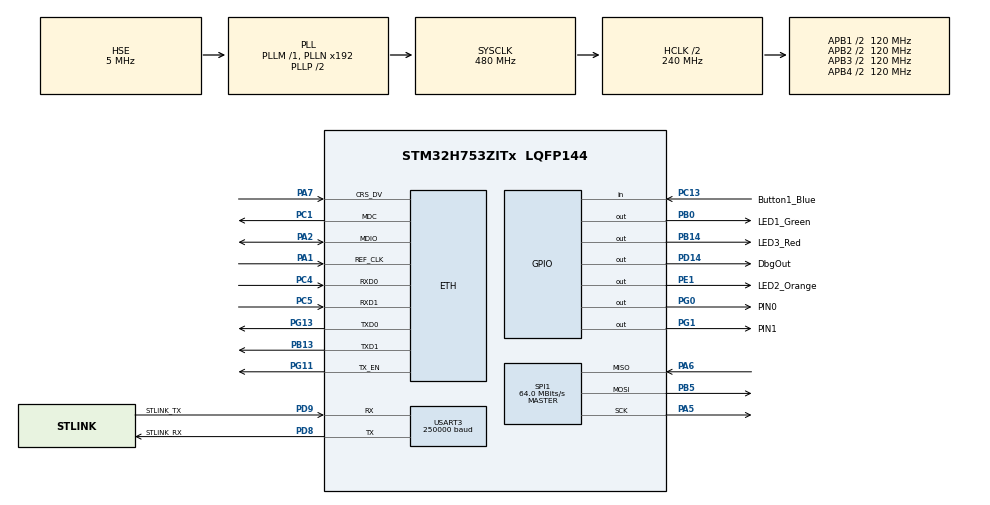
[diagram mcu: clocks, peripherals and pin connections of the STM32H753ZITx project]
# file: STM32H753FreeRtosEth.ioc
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CORTEX_M7.AccessPermission_S-Cortex_Memory_Protection_Unit_Region1_Settings_S=MPU_REGION_FULL_ACCESS
CORTEX_M7.AccessPermission_S-Cortex_Memory_Protection_Unit_Region2_Settings_S=MPU_REGION_FULL_ACCESS
CORTEX_M7.AccessPermission_Spec=MPU_REGION_FULL_ACCESS
CORTEX_M7.BaseAddress_S-Cortex_Memory_Protection_Unit_Region1_Settings_S=0x30000000
CORTEX_M7.BaseAddress_S-Cortex_Memory_Protection_Unit_Region2_Settings_S=0x24000000
CORTEX_M7.CPU_DCache=Enabled
CORTEX_M7.CPU_ICache=Enabled
CORTEX_M7.DisableExec_S-Cortex_Memory_Protection_Unit_Region1_Settings_S=MPU_INSTRUCTION_ACCESS_DISABLE
CORTEX_M7.Enable_S-Cortex_Memory_Protection_Unit_Region1_Settings_S=MPU_REGION_ENABLE
CORTEX_M7.Enable_S-Cortex_Memory_Protection_Unit_Region2_Settings_S=MPU_REGION_ENABLE
CORTEX_M7.IsBufferable_S-Cortex_Memory_Protection_Unit_Region2_Settings_S=MPU_ACCESS_BUFFERABLE
CORTEX_M7.IsCacheable_S-Cortex_Memory_Protection_Unit_Region2_Settings_S=MPU_ACCESS_CACHEABLE
CORTEX_M7.IsShareable_S-Cortex_Memory_Protection_Unit_Region1_Settings_S=MPU_ACCESS_SHAREABLE
CORTEX_M7.MPU_Control=MPU_HFNMI_PRIVDEF
CORTEX_M7.Size_S-Cortex_Memory_Protection_Unit_Region1_Settings_S=MPU_REGION_SIZE_256KB
CORTEX_M7.Size_S-Cortex_Memory_Protection_Unit_Region2_Settings_S=MPU_REGION_SIZE_512KB
CORTEX_M7.TypeExtField_S-Cortex_Memory_Protection_Unit_Region1_Settings_S=MPU_TEX_LEVEL1
CORTEX_M7.TypeExtField_S-Cortex_Memory_Protection_Unit_Region2_Settings_S=MPU_TEX_LEVEL1
CORTEX_M7.default_mode_Activation=1
ETH.MediaInterface=HAL_ETH_RMII_MODE
FREERTOS.Tasks01=tskDefault,8,2048,tskFctDefault,Default,NULL,Dynamic,NULL,NULL
FREERTOS.configCHECK_FOR_STACK_OVERFLOW=2
FREERTOS.configMINIMAL_STACK_SIZE=2048
FREERTOS.configTOTAL_HEAP_SIZE=65536
LWIP.BSP.number=1
LWIP.DEFAULT_RAW_RECVMBOX_SIZE=6
LWIP.DEFAULT_THREAD_STACKSIZE=2048
LWIP.GATEWAY_ADDRESS=000.000.000.000
LWIP.IP_ADDRESS=192.168.000.207
LWIP.LWIP_DHCP=0
LWIP.LWIP_NETCONN_FULLDUPLEX=1
LWIP.LWIP_NETCONN_SEM_PER_THREAD=1
LWIP.LWIP_NETIF_HOSTNAME=1
LWIP.LWIP_NETIF_HOSTNAME_NAME=Stm32FreeRtosEthDemo
LWIP.LWIP_NETIF_STATUS_CALLBACK=1
LWIP.LWIP_RAW=1
LWIP.LWIP_SO_RCVTIMEO=1
LWIP.MEM_SIZE=16385
LWIP.NETMASK_ADDRESS=255.255.255.000
LWIP.SLIPIF_THREAD_STACKSIZE=2048
LWIP.TCPIP_THREAD_STACKSIZE=4096
LWIP.Version=v2.2.1_Cube
LWIP0.BSP.STBoard=false
LWIP0.BSP.api=BSP_COMPONENT_DRIVER
LWIP0.BSP.component=LAN8742
LWIP0.BSP.instance=LAN8742
LWIP0.BSP.name=Driver_PHY
LWIP0.BSP.semaphore=S_LAN8742
LWIP0.BSP.solution=LAN8742
Mcu.Family=STM32H7
Mcu.Name=STM32H753ZITx
Mcu.Package=LQFP144
NVIC.PriorityGroup=NVIC_PRIORITYGROUP_4
NVIC.TIM7_IRQn=true\:15\:0\:false\:false\:true\:false\:false\:true\:true
NVIC.TimeBase=TIM7_IRQn
NVIC.TimeBaseIP=TIM7
PA1.GPIO_Speed_Default_HIGH=GPIO_SPEED_FREQ_VERY_HIGH
PA1.Mode=RMII
PA1.Signal=ETH_REF_CLK
PA13\ (JTMS/SWDIO).Mode=Trace_Asynchronous_SW
PA13\ (JTMS/SWDIO).Signal=DEBUG_JTMS-SWDIO
PA14\ (JTCK/SWCLK).Mode=Trace_Asynchronous_SW
PA14\ (JTCK/SWCLK).Signal=DEBUG_JTCK-SWCLK
PA2.GPIO_Speed_Default_HIGH=GPIO_SPEED_FREQ_VERY_HIGH
PA2.Mode=RMII
PA2.Signal=ETH_MDIO
PA5.Mode=Full_Duplex_Master
PA5.Signal=SPI1_SCK
PA6.Mode=Full_Duplex_Master
PA6.Signal=SPI1_MISO
PA7.GPIO_Speed_Default_HIGH=GPIO_SPEED_FREQ_VERY_HIGH
PA7.Mode=RMII
PA7.Signal=ETH_CRS_DV
PB0.GPIO_Label=LED1_Green
PB0.Signal=GPIO_Output
PB13.GPIO_Speed_Default_HIGH=GPIO_SPEED_FREQ_VERY_HIGH
PB13.Mode=RMII
PB13.Signal=ETH_TXD1
PB14.GPIO_Label=LED3_Red
PB14.Signal=GPIO_Output
PB3\ (JTDO/TRACESWO).Mode=Trace_Asynchronous_SW
PB3\ (JTDO/TRACESWO).Signal=DEBUG_JTDO-SWO
PB5.Mode=Full_Duplex_Master
PB5.Signal=SPI1_MOSI
PC1.GPIO_Speed_Default_HIGH=GPIO_SPEED_FREQ_VERY_HIGH
PC1.Mode=RMII
PC1.Signal=ETH_MDC
PC13.GPIO_Label=Button1_Blue
PC13.Signal=GPIO_Input
PC14-OSC32_IN\ (OSC32_IN).Signal=RCC_OSC32_IN
PC15-OSC32_OUT\ (OSC32_OUT).Signal=RCC_OSC32_OUT
PC4.GPIO_Speed_Default_HIGH=GPIO_SPEED_FREQ_VERY_HIGH
PC4.Mode=RMII
PC4.Signal=ETH_RXD0
PC5.GPIO_Speed_Default_HIGH=GPIO_SPEED_FREQ_VERY_HIGH
PC5.Mode=RMII
PC5.Signal=ETH_RXD1
PC7.Mode=External_Trigger_bidirectional
PC7.Signal=DEBUG_TRGIO
PD14.GPIO_Label=DbgOut
PD14.Signal=GPIO_Output
PD8.GPIO_Label=STLINK_RX
PD8.GPIO_Speed=GPIO_SPEED_FREQ_VERY_HIGH
PD8.Mode=Asynchronous
PD8.Signal=USART3_TX
PD9.GPIO_Label=STLINK_TX
PD9.GPIO_Speed=GPIO_SPEED_FREQ_VERY_HIGH
PD9.Mode=Asynchronous
PD9.Signal=USART3_RX
PE1.GPIO_Label=LED2_Orange
PE1.Signal=GPIO_Output
PG0.GPIO_Label=PIN0
PG0.Signal=GPIO_Output
PG1.GPIO_Label=PIN1
PG1.Signal=GPIO_Output
PG11.GPIO_Speed_Default_HIGH=GPIO_SPEED_FREQ_VERY_HIGH
PG11.Mode=RMII
PG11.Signal=ETH_TX_EN
PG13.GPIO_Speed_Default_HIGH=GPIO_SPEED_FREQ_VERY_HIGH
PG13.Mode=RMII
PG13.Signal=ETH_TXD0
PH0-OSC_IN\ (PH0).Mode=HSE-External-Clock-Source
PH0-OSC_IN\ (PH0).Signal=RCC_OSC_IN
PH1-OSC_OUT\ (PH1).Signal=RCC_OSC_OUT
ProjectManager.HeapSize=0x200
ProjectManager.StackSize=0x400
ProjectManager.TargetToolchain=CMake
RCC.ADCFreq_Value=128000000
RCC.APB1Freq_Value=120000000
RCC.APB2Freq_Value=120000000
RCC.APB3Freq_Value=120000000
RCC.APB4Freq_Value=120000000
RCC.CortexFreq_Value=480000000
RCC.D1PPRE=RCC_APB3_DIV2
RCC.D2PPRE1=RCC_APB1_DIV2
RCC.D2PPRE2=RCC_APB2_DIV2
RCC.D3PPRE=RCC_APB4_DIV2
RCC.DIVM1=1
RCC.DIVM2=1
RCC.DIVM3=1
RCC.DIVN1=192
RCC.DIVN2=128
RCC.DIVN3=200
RCC.DIVP2=5
RCC.DIVP3=20
RCC.DIVQ1=8
RCC.DIVQ2=5
RCC.DIVQ3=20
RCC.HCLKFreq_Value=240000000
RCC.HPRE=RCC_HCLK_DIV2
RCC.HSE_VALUE=5000000
RCC.PLL2FRACN=0
RCC.PLLFRACN=0
RCC.PLLSourceVirtual=RCC_PLLSOURCE_HSE
RCC.PWR_Regulator_Voltage_Scale=PWR_REGULATOR_VOLTAGE_SCALE0
RCC.SPI123CLockSelection=RCC_SPI123CLKSOURCE_PLL2
RCC.SYSCLKFreq_VALUE=480000000
RCC.SYSCLKSource=RCC_SYSCLKSOURCE_PLLCLK
RCC.USBFreq_Value=120000000
SPI1.BaudRatePrescaler=SPI_BAUDRATEPRESCALER_2
SPI1.CalculateBaudRate=64.0 MBits/s
SPI1.Direction=SPI_DIRECTION_2LINES
SPI1.Mode=SPI_MODE_MASTER
SPI1.VirtualType=VM_MASTER
USART3.BaudRate=250000
USART3.VirtualMode-Asynchronous=VM_ASYNC
VP_FREERTOS_VS_CMSIS_V2.Mode=CMSIS_V2
VP_LWIP_VS_Enabled.Mode=Enabled
VP_MEMORYMAP_VS_MEMORYMAP.Mode=CurAppReg
VP_SYS_VS_tim7.Mode=TIM7
board=NUCLEO-H753ZI

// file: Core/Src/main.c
/* USER CODE BEGIN Header */
/* @@@@ USERCODE FILE main program body

    - Disable UNALIGN_TRP: the newlib crt0 startup sets this bit, which causes
     HardFaults on any unaligned access. The Cortex-M7 supports unaligned
     accesses on Normal memory, so we clear it here.

    - Error_Handler has been modified

*/

/**
  ******************************************************************************
  * @file           : main.c
  * @brief          : Main program body
  ******************************************************************************
  * @attention
  *
  * Copyright (c) 2026 STMicroelectronics.
  * All rights reserved.
  *
  * This software is licensed under terms that can be found in the LICENSE file
  * in the root directory of this software component.
  * If no LICENSE file comes with this software, it is provided AS-IS.
  *
  ******************************************************************************
  */
/* USER CODE END Header */
#include "main.h"
#include "FreeRTOS.h"
#include "cmsis_os2.h"
#include "lwip.h"
#include "spi.h"
#include "usart.h"
#include "gpio.h"

/* USER CODE BEGIN Includes */

#include "clock64.h"

/* USER CODE END Includes */

void SystemClock_Config(void);
static void MPU_Config(void);
void MX_FREERTOS_Init(void);

int main(void)
{

  /* USER CODE BEGIN 1 */

  /* @@@@ USERCODE Disable UNALIGN_TRP
     the newlib crt0 startup sets this bit, which causes HardFaults on any unaligned access.
     The Cortex-M7 supports unaligned accesses on normal memory, so we clear it here.
  */
  SCB->CCR &= ~SCB_CCR_UNALIGN_TRP_Msk;

  /* USER CODE END 1 */

  /* MPU Configuration--------------------------------------------------------*/
  MPU_Config();

  /* Enable the CPU Cache */

  /* Enable I-Cache---------------------------------------------------------*/
  SCB_EnableICache();

  /* Enable D-Cache---------------------------------------------------------*/
  SCB_EnableDCache();

  /* MCU Configuration--------------------------------------------------------*/

  /* Reset of all peripherals, Initializes the Flash interface and the Systick. */
  HAL_Init();

  /* Configure the system clock */
  SystemClock_Config();

  /* Initialize all configured peripherals */
  MX_GPIO_Init();
  MX_SPI1_Init();
  MX_USART3_UART_Init();

  /* Init scheduler */
  osKernelInitialize();  /* Call init function for freertos objects (in cmsis_os2.c) */
  MX_FREERTOS_Init();

  /* Start scheduler */
  osKernelStart();

  /* We should never get here as control is now taken by the scheduler */

  /* Infinite loop */
  while (1)
  {

  }
}

void SystemClock_Config(void)
{
  RCC_OscInitTypeDef RCC_OscInitStruct = {0};
  RCC_ClkInitTypeDef RCC_ClkInitStruct = {0};

  /** Supply configuration update enable
  */
  HAL_PWREx_ConfigSupply(PWR_LDO_SUPPLY);

  /** Configure the main internal regulator output voltage
  */
  __HAL_PWR_VOLTAGESCALING_CONFIG(PWR_REGULATOR_VOLTAGE_SCALE0);

  while(!__HAL_PWR_GET_FLAG(PWR_FLAG_VOSRDY)) {}

  /** Initializes the RCC Oscillators according to the specified parameters
  * in the RCC_OscInitTypeDef structure.
  */
  RCC_OscInitStruct.OscillatorType = RCC_OSCILLATORTYPE_HSE;
  RCC_OscInitStruct.HSEState = RCC_HSE_BYPASS;
  RCC_OscInitStruct.PLL.PLLState = RCC_PLL_ON;
  RCC_OscInitStruct.PLL.PLLSource = RCC_PLLSOURCE_HSE;
  RCC_OscInitStruct.PLL.PLLM = 1;
  RCC_OscInitStruct.PLL.PLLN = 192;
  RCC_OscInitStruct.PLL.PLLP = 2;
  RCC_OscInitStruct.PLL.PLLQ = 8;
  RCC_OscInitStruct.PLL.PLLR = 2;
  RCC_OscInitStruct.PLL.PLLRGE = RCC_PLL1VCIRANGE_2;
  RCC_OscInitStruct.PLL.PLLVCOSEL = RCC_PLL1VCOWIDE;
  RCC_OscInitStruct.PLL.PLLFRACN = 0;
  if (HAL_RCC_OscConfig(&RCC_OscInitStruct) != HAL_OK)
  {
    Error_Handler();
  }

  /** Initializes the CPU, AHB and APB buses clocks
  */
  RCC_ClkInitStruct.ClockType = RCC_CLOCKTYPE_HCLK|RCC_CLOCKTYPE_SYSCLK
                              |RCC_CLOCKTYPE_PCLK1|RCC_CLOCKTYPE_PCLK2
                              |RCC_CLOCKTYPE_D3PCLK1|RCC_CLOCKTYPE_D1PCLK1;
  RCC_ClkInitStruct.SYSCLKSource = RCC_SYSCLKSOURCE_PLLCLK;
  RCC_ClkInitStruct.SYSCLKDivider = RCC_SYSCLK_DIV1;
  RCC_ClkInitStruct.AHBCLKDivider = RCC_HCLK_DIV2;
  RCC_ClkInitStruct.APB3CLKDivider = RCC_APB3_DIV2;
  RCC_ClkInitStruct.APB1CLKDivider = RCC_APB1_DIV2;
  RCC_ClkInitStruct.APB2CLKDivider = RCC_APB2_DIV2;
  RCC_ClkInitStruct.APB4CLKDivider = RCC_APB4_DIV2;

  if (HAL_RCC_ClockConfig(&RCC_ClkInitStruct, FLASH_LATENCY_4) != HAL_OK)
  {
    Error_Handler();
  }
}

 /* MPU Configuration */

void MPU_Config(void)
{
  MPU_Region_InitTypeDef MPU_InitStruct = {0};

  /* Disables the MPU */
  HAL_MPU_Disable();

  /** Initializes and configures the Region and the memory to be protected
  */
  MPU_InitStruct.Enable = MPU_REGION_ENABLE;
  MPU_InitStruct.Number = MPU_REGION_NUMBER0;
  MPU_InitStruct.BaseAddress = 0x0;
  MPU_InitStruct.Size = MPU_REGION_SIZE_4GB;
  MPU_InitStruct.SubRegionDisable = 0x87;
  MPU_InitStruct.TypeExtField = MPU_TEX_LEVEL0;
  MPU_InitStruct.AccessPermission = MPU_REGION_FULL_ACCESS;
  MPU_InitStruct.DisableExec = MPU_INSTRUCTION_ACCESS_DISABLE;
  MPU_InitStruct.IsShareable = MPU_ACCESS_SHAREABLE;
  MPU_InitStruct.IsCacheable = MPU_ACCESS_NOT_CACHEABLE;
  MPU_InitStruct.IsBufferable = MPU_ACCESS_NOT_BUFFERABLE;

  HAL_MPU_ConfigRegion(&MPU_InitStruct);

  /** Initializes and configures the Region and the memory to be protected
  */
  MPU_InitStruct.Number = MPU_REGION_NUMBER1;
  MPU_InitStruct.BaseAddress = 0x30000000;
  MPU_InitStruct.Size = MPU_REGION_SIZE_256KB;
  MPU_InitStruct.SubRegionDisable = 0x0;
  MPU_InitStruct.TypeExtField = MPU_TEX_LEVEL1;

  HAL_MPU_ConfigRegion(&MPU_InitStruct);

  /** Initializes and configures the Region and the memory to be protected
  */
  MPU_InitStruct.Number = MPU_REGION_NUMBER2;
  MPU_InitStruct.BaseAddress = 0x24000000;
  MPU_InitStruct.Size = MPU_REGION_SIZE_512KB;
  MPU_InitStruct.DisableExec = MPU_INSTRUCTION_ACCESS_ENABLE;
  MPU_InitStruct.IsShareable = MPU_ACCESS_NOT_SHAREABLE;
  MPU_InitStruct.IsCacheable = MPU_ACCESS_CACHEABLE;
  MPU_InitStruct.IsBufferable = MPU_ACCESS_BUFFERABLE;

  HAL_MPU_ConfigRegion(&MPU_InitStruct);
  /* Enables the MPU */
  HAL_MPU_Enable(MPU_HFNMI_PRIVDEF);

}

void HAL_TIM_PeriodElapsedCallback(TIM_HandleTypeDef *htim)
{
  if (htim->Instance == TIM7)
  {
    HAL_IncTick();
  }
}

void Error_Handler(void)
{
  __disable_irq();
  while (1)
  {
  }
}

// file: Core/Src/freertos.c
/* USER CODE BEGIN Header */
/* @@@@ USERCODE FILE FreeRTOS application body */
/**
  ******************************************************************************
  * File Name          : freertos.c
  * Description        : Code for freertos applications
  ******************************************************************************
  * @attention
  *
  * Copyright (c) 2026 STMicroelectronics.
  * All rights reserved.
  *
  * This software is licensed under terms that can be found in the LICENSE file
  * in the root directory of this software component.
  * If no LICENSE file comes with this software, it is provided AS-IS.
  *
  ******************************************************************************
  */
/* USER CODE END Header */

#include "FreeRTOS.h"
#include "task.h"
#include "main.h"
#include "FreeRTOS.h"
#include "cmsis_os2.h"

/* USER CODE BEGIN Includes */

#include <assert.h>
#include <stdbool.h>
#include <stdio.h>

#include "gpio.h"

#include "clock64.h"

// XCPlite headers
#ifdef __cplusplus
#include "xcplib.hpp" // for libxcplite C++ application programming interface
#else
#include "xcplib.h" // for libxcplite C application programming interface
#endif

// LWIP headers
#include "lwip/pbuf.h"
#include "lwip/netif.h"
#include "netif/ethernet.h"
#include "lwip/etharp.h"
#include "lwip/api.h"
#include "lwip/raw.h"
#include "lwip/ip_addr.h"
#include "lwip/prot/ip.h"
#include "lwip/prot/ip4.h"
#include "lwip/prot/icmp.h"

#define IP_ADDRESS  LWIP_MAKEU32(192,168,0,207)
#define IP_NETMASK  LWIP_MAKEU32(255,255,255,0)
#define IP_GW       LWIP_MAKEU32(0,0,0,0)

// @@@@ USERCODE #include "xcp_demo.h"
#include "xcp_demo.h"

/* USER CODE END Includes */

/* Definitions for tskDefault */
osThreadId_t tskDefaultHandle;
const osThreadAttr_t tskDefault_attributes = {
  .name = "tskDefault",
  .stack_size = 2048 * 4,
  .priority = (osPriority_t) osPriorityLow,
};

/* USER CODE BEGIN FunctionPrototypes */

static u8_t ping_recv_callback(void *arg, struct raw_pcb *pcb, struct pbuf *p, const ip_addr_t *addr);

/* USER CODE END FunctionPrototypes */

void tskFctDefault(void *argument);

extern void MX_LWIP_Init(void);
void MX_FREERTOS_Init(void); /* (MISRA C 2004 rule 8.1) */

/* Hook prototypes */
void vApplicationStackOverflowHook(xTaskHandle xTask, char *pcTaskName);

/* USER CODE BEGIN 4 */
void vApplicationStackOverflowHook(xTaskHandle xTask, char *pcTaskName)
{
   /* Run time stack overflow checking is performed if
   configCHECK_FOR_STACK_OVERFLOW is defined to 1 or 2. This hook function is
   called if a stack overflow is detected. */
}

void setGreenLed(void) {
  HAL_GPIO_WritePin(LED1_Green_GPIO_Port, LED1_Green_Pin, GPIO_PIN_SET);
}

void rstGreenLed(void) {
  HAL_GPIO_WritePin(LED1_Green_GPIO_Port, LED1_Green_Pin, GPIO_PIN_RESET);
}

void toggleGreenLed(void) {
  HAL_GPIO_TogglePin(LED1_Green_GPIO_Port, LED1_Green_Pin);
}

void setOrangeLed(void) {
  HAL_GPIO_WritePin(LED2_Orange_GPIO_Port, LED2_Orange_Pin, GPIO_PIN_SET);
}

void rstOrangeLed(void) {
  HAL_GPIO_WritePin(LED2_Orange_GPIO_Port, LED2_Orange_Pin, GPIO_PIN_RESET);
}

void toggleOrangeLed(void) {
  HAL_GPIO_TogglePin(LED2_Orange_GPIO_Port, LED2_Orange_Pin);
}

void setRedLed(void) {
  HAL_GPIO_WritePin(LED3_Red_GPIO_Port, LED3_Red_Pin, GPIO_PIN_SET);
}

void rstRedLed(void) {
  HAL_GPIO_WritePin(LED3_Red_GPIO_Port, LED3_Red_Pin, GPIO_PIN_RESET);
}

void toggleRedLed(void) {
  HAL_GPIO_TogglePin(LED3_Red_GPIO_Port, LED3_Red_Pin);
}

void setPin1(void) {
  HAL_GPIO_WritePin(PIN1_GPIO_Port, PIN1_Pin, GPIO_PIN_SET);
}

void rstPin1(void) {
  HAL_GPIO_WritePin(PIN1_GPIO_Port, PIN1_Pin, GPIO_PIN_RESET);
}

void setPin2(void) {
  setOrangeLed();
  HAL_GPIO_WritePin(PIN0_GPIO_Port, PIN0_Pin, GPIO_PIN_SET);
}

void rstPin2(void) {
  rstOrangeLed();
  HAL_GPIO_WritePin(PIN0_GPIO_Port, PIN0_Pin, GPIO_PIN_RESET);
}

/* USER CODE END 4 */

void MX_FREERTOS_Init(void) {

  /* Create the thread(s) */
  /* creation of tskDefault */
  tskDefaultHandle = osThreadNew(tskFctDefault, NULL, &tskDefault_attributes);

}

void tskFctDefault(void *argument)
{
  /* init code for LWIP */
  MX_LWIP_Init();
  /* USER CODE BEGIN tskFctDefault */

  /* Eth Status */
  extern struct netif gnetif;
  printf("Eth status: netif=%d link=%d\r\n", netif_is_up(&gnetif), netif_is_link_up(&gnetif));

  /* Static IP setup */
  ip4_addr_t fb_ip, fb_mask, fb_gw;
  fb_ip.addr   = PP_HTONL(IP_ADDRESS);
  fb_mask.addr = PP_HTONL(IP_NETMASK);
  fb_gw.addr   = PP_HTONL(IP_GW);
  netif_set_addr(&gnetif, &fb_ip, &fb_mask, &fb_gw);
  printf("IP Address: %s:5000\r\n", ip4addr_ntoa(netif_ip4_addr(&gnetif)));

  /* Register ICMP ping listener */
  struct raw_pcb *ping_pcb = raw_new(IP_PROTO_ICMP);
  raw_recv(ping_pcb, ping_recv_callback, NULL);
  raw_bind(ping_pcb, IP_ADDR_ANY);
  printf("Ping listener active, LED3_Red toggles on ping\r\n");

  /* Start XCP demo server and tasks */
  // @@@@ USERCODE xcp_demo_init(); // Start XCP demo server and tasks
  xcp_demo_init();

  /* Infinite loop */
  for(;;) {

    // Blink Green LED
    setGreenLed();
    osDelay(100);
    rstGreenLed();
    osDelay(4900);

    // Metric printout every 5 seconds
    {
      // XcpEthTlPrintStatistics();
      // clockGetPrintStatistic();
      /*
      size_t rxStackSize, txStackSize;
      XcpEthServerDebugInfo(&rxStackSize, &txStackSize);
      printf("transmit thread stack high-water mark: %zu bytes \n", txStackSize);
      printf("receive thread stack high-water mark: %zu bytes )\n", rxStackSize);
      */
    }
  }

  /* USER CODE END tskFctDefault */
}

/* USER CODE BEGIN Application */

/**
  * @brief  ICMP raw receive callback – called for every incoming ICMP packet.
  *         Returns 0 so LwIP still processes (and replies to) the ping normally.
  */
static u8_t ping_recv_callback(void *arg, struct raw_pcb *pcb, struct pbuf *p, const ip_addr_t *addr)
{
  /* Check if it's an Echo Request (type 8) */
  if (p->len >= sizeof(struct ip_hdr) + sizeof(struct icmp_echo_hdr))
  {
    struct ip_hdr *iphdr = (struct ip_hdr *)p->payload;
    uint16_t ip_hlen = IPH_HL(iphdr) * 4;
    struct icmp_echo_hdr *icmphdr = (struct icmp_echo_hdr *)((uint8_t *)p->payload + ip_hlen);

    if (ICMPH_TYPE(icmphdr) == ICMP_ECHO)  /* Echo Request */
    {
      toggleRedLed();
      printf("PING from %s\r\n", ip4addr_ntoa(ip_2_ip4(addr)));
    }
  }
  return 0;  /* 0 = don't consume, let LwIP send the reply */
}

/* USER CODE END Application */
